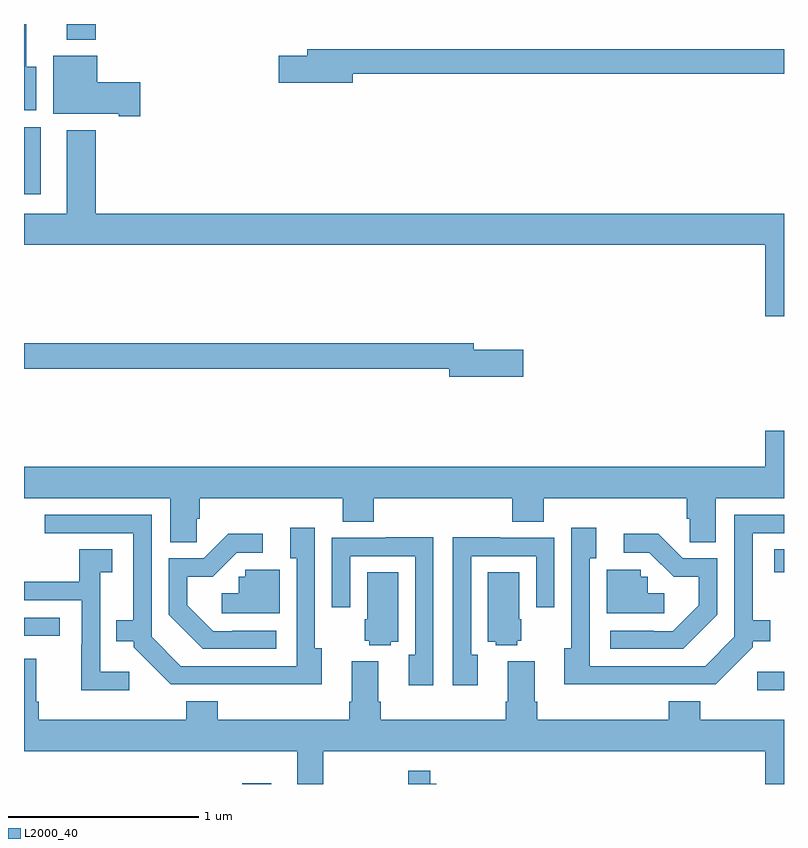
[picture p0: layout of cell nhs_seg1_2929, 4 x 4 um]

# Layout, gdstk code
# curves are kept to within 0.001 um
import gdstk
lib = gdstk.Library(unit=1e-6, precision=1e-09)
def R(c, l, rs):  # rectangles x0, y0, x1, y1
    for r in rs: c.add(gdstk.rectangle(r[:2], r[2:], *l))
def P(c, l, *ps):  # polygons
    for p in ps: c.add(gdstk.Polygon(p, *l))
L2000_40 = (2000, 40)

nhs_seg1_2929 = lib.new_cell('nhs_seg1_2929')
R(nhs_seg1_2929, L2000_40, [(270.149,578.199,270.301,578.203), (272.859,578.693,273,578.791), (269,578.979,269.188,579.075), (272.949,579.313,273,579.434), (269,581.304,269.089,581.656), (269.225,582.116,269.378,582.199)])
P(nhs_seg1_2929, L2000_40, [(269.065,581.974),(269.011,581.974),(269.011,582.199),(269,582.199),(269,581.744),(269.065,581.744)],
  [(270.73,581.938),(273,581.938),(273,582.067),(270.491,582.067),(270.491,582.033),(270.342,582.033),(270.342,581.891),(270.73,581.891)],
  [(269.611,581.892),(269.386,581.892),(269.386,582.031),(269.153,582.031),(269.153,581.726),(269.498,581.726),(269.498,581.714),(269.611,581.714)],
  [(273,581.2),(269.378,581.2),(269.378,581.641),(269.225,581.641),(269.225,581.2),(269,581.2),(269,581.036),(272.9,581.036),(272.9,580.662),(273,580.662)],
  [(271.627,580.484),(271.366,580.484),(271.366,580.52),(269,580.52),(269,580.384),(271.238,580.384),(271.238,580.342),(271.627,580.342)],
  [(269.909,579.594),(269.924,579.594),(269.924,579.704),(270.677,579.704),(270.677,579.58),(270.842,579.58),(270.842,579.704),(271.571,579.704),(271.571,579.58),(271.736,579.58),(271.736,579.704),(272.489,579.704),(272.489,579.594),(272.503,579.594),(272.503,579.472),(272.641,579.472),(272.641,579.704),(273,579.704),(273,580.057),(272.9,580.057),(272.9,579.868),(269,579.868),(269,579.704),(269.771,579.704),(269.771,579.472),(269.909,579.472)],
  [(270.568,578.914),(270.531,578.914),(270.531,579.547),(270.401,579.547),(270.401,579.386),(270.435,579.386),(270.435,578.82),(269.826,578.82),(269.673,578.973),(269.673,579.615),(269.109,579.615),(269.109,579.519),(269.576,579.519),(269.576,579.061),(269.485,579.061),(269.485,578.951),(269.577,578.951),(269.577,578.919),(269.772,578.724),(270.568,578.723)],
  [(272.309,578.724),(272.64,578.724),(272.835,578.919),(272.835,578.951),(272.927,578.951),(272.927,579.061),(272.836,579.061),(272.836,579.519),(273,579.519),(273,579.615),(272.739,579.615),(272.739,578.973),(272.586,578.82),(271.977,578.82),(271.977,579.386),(272.011,579.386),(272.011,579.547),(271.881,579.547),(271.881,578.914),(271.844,578.914),(271.844,578.723)],
  [(270.328,579.006),(270.097,579.006),(270.097,579.003),(269.997,579.003),(269.86,579.14),(269.86,579.29),(269.993,579.29),(270.12,579.417),(270.256,579.417),(270.256,579.515),(270.074,579.515),(269.946,579.387),(269.763,579.387),(269.763,579.089),(269.942,578.91),(270.328,578.91)],
  [(272.649,579.089),(272.649,579.387),(272.466,579.387),(272.338,579.515),(272.157,579.515),(272.157,579.417),(272.292,579.417),(272.419,579.29),(272.552,579.29),(272.552,579.14),(272.415,579.003),(272.315,579.003),(272.315,579.006),(272.085,579.006),(272.085,578.91),(272.47,578.91)],
  [(271.155,579.499),(270.905,579.499),(270.905,579.495),(270.621,579.495),(270.621,579.129),(270.717,579.129),(270.717,579.399),(271.059,579.399),(271.059,578.879),(271.025,578.879),(271.025,578.718),(271.155,578.718)],
  [(271.387,578.879),(271.353,578.879),(271.353,579.399),(271.695,579.399),(271.695,579.129),(271.791,579.129),(271.791,579.495),(271.507,579.495),(271.507,579.499),(271.257,579.499),(271.257,578.718),(271.387,578.718)],
  [(269.554,578.791),(269.4,578.791),(269.4,579.313),(269.464,579.313),(269.464,579.434),(269.292,579.434),(269.292,579.264),(269,579.264),(269,579.165),(269.304,579.165),(269.304,578.933),(269.302,578.933),(269.302,578.693),(269.554,578.693)],
  [(272.371,579.202),(272.283,579.202),(272.283,579.291),(272.247,579.291),(272.247,579.327),(272.066,579.327),(272.066,579.099),(272.371,579.099)],
  [(270.346,579.327),(270.165,579.327),(270.165,579.291),(270.129,579.291),(270.129,579.202),(270.042,579.202),(270.042,579.099),(270.346,579.099)],
  [(271.596,578.952),(271.618,578.952),(271.618,579.066),(271.606,579.066),(271.606,579.314),(271.442,579.314),(271.442,578.948),(271.482,578.948),(271.482,578.93),(271.596,578.93)],
  [(270.93,578.948),(270.97,578.948),(270.97,579.314),(270.806,579.314),(270.806,579.066),(270.794,579.066),(270.794,578.952),(270.816,578.952),(270.816,578.93),(270.93,578.93)],
  [(270.576,578.372),(272.9,578.372),(272.9,578.199),(273,578.199),(273,578.536),(272.558,578.536),(272.558,578.635),(272.393,578.635),(272.393,578.536),(271.7,578.536),(271.7,578.632),(271.687,578.632),(271.687,578.845),(271.547,578.845),(271.547,578.632),(271.535,578.632),(271.535,578.536),(270.878,578.536),(270.878,578.632),(270.865,578.632),(270.865,578.845),(270.725,578.845),(270.725,578.632),(270.713,578.632),(270.713,578.536),(270.02,578.536),(270.02,578.635),(269.855,578.635),(269.855,578.536),(269.078,578.536),(269.078,578.632),(269.065,578.632),(269.065,578.857),(269,578.857),(269,578.372),(270.437,578.372),(270.437,578.199),(270.576,578.199)],
  [(271.169,578.2),(271.139,578.2),(271.139,578.269),(271.022,578.269),(271.022,578.199),(271.169,578.199)])

lib.write_gds('nhs_seg1_2929.gds')
